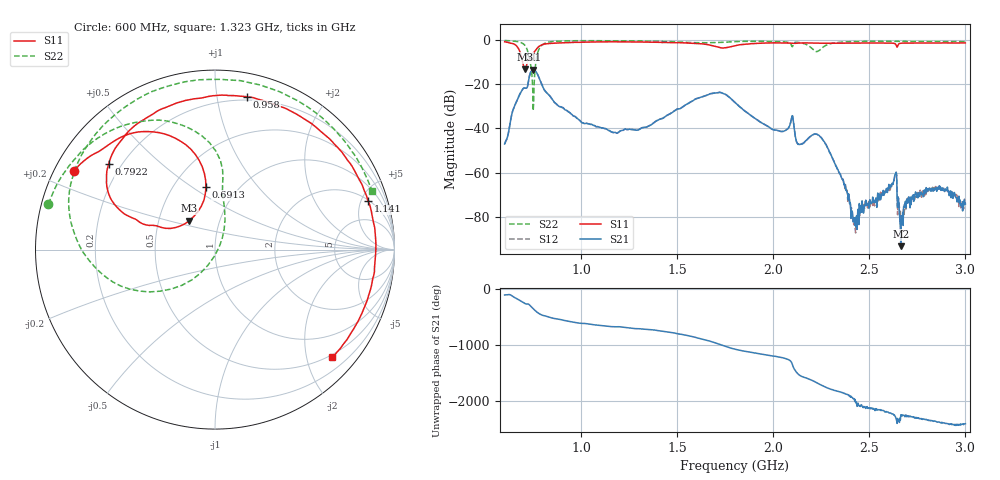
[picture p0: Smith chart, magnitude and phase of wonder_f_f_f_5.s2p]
#  HZ  S  RI  R  50.00
! Rohde & Schwarz ZVB8 2Ports - Version 2.81 - 1145.1010k08 SN: 100113
! Date: 2016-05-12 03:17:12
! Measurements: S11 S21 S12 S22
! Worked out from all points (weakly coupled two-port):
!   1000 points, 600 MHz to 3 GHz, reference 50 ohm
!   highest |S21| = -13.46 dB at 748.9 MHz (marker M1); lowest = -93.1 dB at 2.664 GHz (marker M2)
!   lowest |S11| = -13.3 dB at 705.7 MHz (marker M3), VSWR 1.55, Z = 35.8 + j12.2 ohm
!   |S11| at or under -10 dB: 693.8 MHz to 719.8 MHz (25.99 MHz wide, 3.68 % of centre)
!   |S22| runs from -32.0 to -0.3 dB; largest |S21 - S12| = 0.0024
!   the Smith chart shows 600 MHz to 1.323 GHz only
!   S11 on the Smith chart (normalised r, x): 600 MHz: 0.06, +0.26; 691.3 MHz: 0.71, +0.57; 792.2 MHz: 0.15, +0.34; 958 MHz: 0.17, +1.22; 1.141 GHz: 2.10, +5.72; 1.323 GHz: 0.44, -2.50
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6e8  -0.7866 0.4382  -0.00163 -0.00415  -0.00163 -0.00416  -0.9282 0.2534
6.576577e8  -0.3713 0.6575  -0.0357 -0.00732  -0.0356 -0.0074  -0.732 0.5592
6.912913e8  -0.0505 0.3499  -0.0429 0.0595  -0.0432 0.0591  -0.4477 0.7078
7.057057e8  -0.1422 0.1621  -0.00727 0.0807  -0.00673 0.081  -0.2375 0.7096
7.489489e8  -0.4626 0.1773  0.2121 0.00739  0.2121 0.00693  0.0222 0.0116
7.921922e8  -0.5924 0.4756  -0.0303 -0.0973  -0.0303 -0.0971  -0.7378 -0.0107
9.57958e8  0.1782 0.8517  -0.0101 0.0163  -0.0102 0.0163  -0.3455 0.8827
1.001201e9  0.3879 0.7889  -0.00245 0.0134  -0.0025 0.0134  -0.1657 0.935
1.140541e9  0.8535 0.27  0.00635 0.00643  0.00638 0.00648  0.3978 0.861
1.323123e9  0.6542 -0.5995  0.0105 -0.000502  0.0105 -0.000524  0.874 0.3261
1.4e9  0.3451 -0.8044  0.0134 -0.00747  0.0135 -0.00748  0.9207 0.0291
1.678679e9  -0.6353 -0.3835  -0.0409 0.0454  -0.0409 0.0454  0.4691 -0.7193
1.801201e9  -0.7064 -0.1984  0.0379 -0.00133  0.0381 -0.00129  0.1549 -0.8927
1.976577e9  -0.7234 0.4401  -0.0041 -0.00999  -0.00413 -0.00998  -0.3912 -0.8247
2.2e9  0.0207 0.8452  -0.00667 0.00196  -0.00673 0.00196  -0.6055 -0.2197
2.276877e9  0.3181 0.7686  0.00343 0.00212  0.00343 0.00232  -0.6001 -0.463
2.416216e9  0.741 0.4002  -7.44e-05 -2.02e-05  -6.34e-05 -7.02e-05  -0.897 -0.1473
2.601201e9  0.7479 -0.3883  0.000284 -0.000467  0.000241 -0.000335  -0.8689 0.2976
2.63003e9  0.6517 -0.5048  -7.65e-05 -0.000753  -0.000104 -0.000749  -0.8474 0.3592
2.663664e9  0.6275 -0.5483  -1.91e-06 -2.2e-05  -6.53e-05 -4.67e-05  -0.8128 0.4268
2.851051e9  -0.0662 -0.837  -0.000282 0.000258  -0.000361 0.000269  -0.5213 0.7514
3e9  -0.5535 -0.639  -6.03e-05 0.000186  -5.29e-05 0.000196  -0.1825 0.8846
